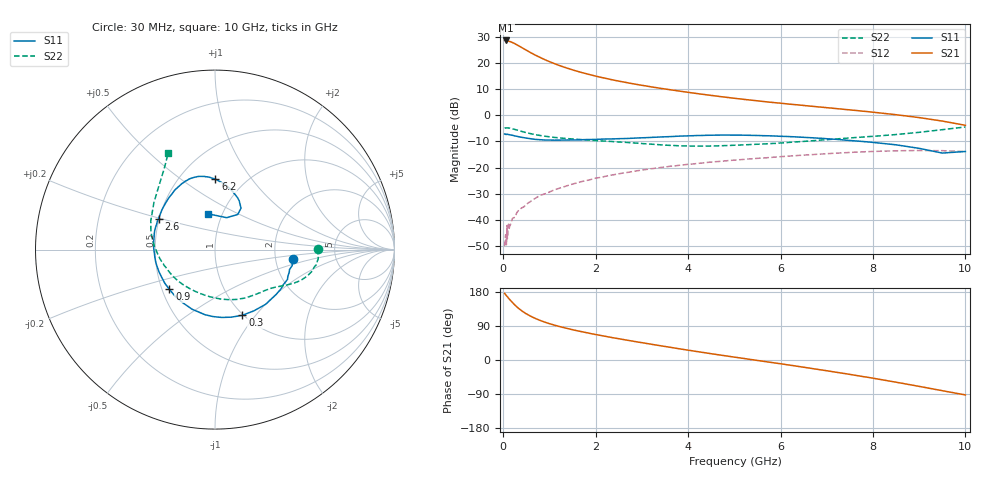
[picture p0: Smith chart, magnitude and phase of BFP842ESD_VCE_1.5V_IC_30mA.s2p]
! Infineon Technologies  Discrete & RF Semiconductors
! BFP842ESD
! VCE =  1.5 V,  IC =  30 mA
! Common Emitter S-Parameters:  May 2012
# GHz  S  MA  R  50
!  f  S11  S21  S12  S22
! GHz  MAG  ANG  MAG  ANG  MAG  ANG  MAG  ANG
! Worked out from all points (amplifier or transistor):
!   99 points, 30 MHz to 10 GHz, reference 50 ohm
!   highest |S21| = 28.8 dB at 60 MHz (marker M1)
!   |S21| within 3 dB of that: start of sweep to 426.7 MHz
!   unconditionally stable (mu >= 1): start of sweep to end of sweep
!   at 350 MHz: K = 1.03, MAG = 30.2 dB, |S12| = -36.1 dB
!   at 3.5 GHz: K = 1.27, MAG = 11.8 dB, |S12| = -19.8 dB
!   at 10 GHz: K = 2.31, MAG = -1.4 dB, |S12| = -13.9 dB
!   S11 on the Smith chart (normalised r, x): 30 MHz: 2.52, -0.34; 300 MHz: 0.99, -0.86; 900 MHz: 0.55, -0.27; 2.6 GHz: 0.50, +0.20; 6.2 GHz: 0.74, +0.68; 10 GHz: 0.86, +0.36
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0.03  0.44 -7.2  27.4 175.9  0.0031 62.7  0.5726 0.1
0.05  0.4394 -11.7  27.05 172.6  0.0051 99.7  0.5727 -1.5
0.06  0.4296 -15.0  27.4 171.1  0.0051 18.2  0.5742 -3.3
0.11  0.4281 -26.9  26.77 163.7  0.0081 51.6  0.5734 -6.5
0.15  0.4227 -36.2  26.05 158.2  0.0077 52.5  0.5635 -9.5
0.2  0.4154 -47.1  24.98 151.7  0.0106 60.0  0.5525 -12.8
0.25  0.4043 -57.5  23.82 145.3  0.0111 64.8  0.5375 -15.5
0.3  0.3966 -67.3  22.44 139.7  0.0139 67.3  0.5231 -17.6
0.35  0.3873 -76.4  21.27 134.6  0.0157 63.6  0.5079 -19.7
0.45  0.3733 -91.6  18.88 125.7  0.0177 64.2  0.4793 -22.8
0.6  0.356 -111.0  15.86 115.1  0.0226 63.6  0.4451 -26.4
0.7  0.3462 -121.5  14.25 109.4  0.0259 61.2  0.4262 -28.2
0.9  0.3371 -139.0  11.73 99.9  0.0312 60.7  0.3991 -31.5
1.2  0.3358 -158.3  9.159 88.9  0.0397 59.4  0.3719 -36.3
1.7  0.3414 178.9  6.64 74.7  0.0539 54.7  0.3425 -45.3
2.6  0.3588 151.3  4.379 54.0  0.0786 44.7  0.306 -64.7
3.4  0.3856 132.3  3.314 37.7  0.1001 35.5  0.2728 -86.7
5.1  0.4184 103.5  2.082 5.9  0.141 12.1  0.2692 -140.0
6.2  0.3916 89.6  1.644 -13.6  0.1661 -3.9  0.3042 -167.3
6.7  0.3718 82.8  1.492 -22.8  0.1772 -11.8  0.327 -178.8
8.5  0.2726 57.9  1.031 -58.6  0.2095 -46.7  0.4296 142.4
10  0.2031 101.1  0.646 -92.2  0.2024 -84.9  0.6001 115.7
